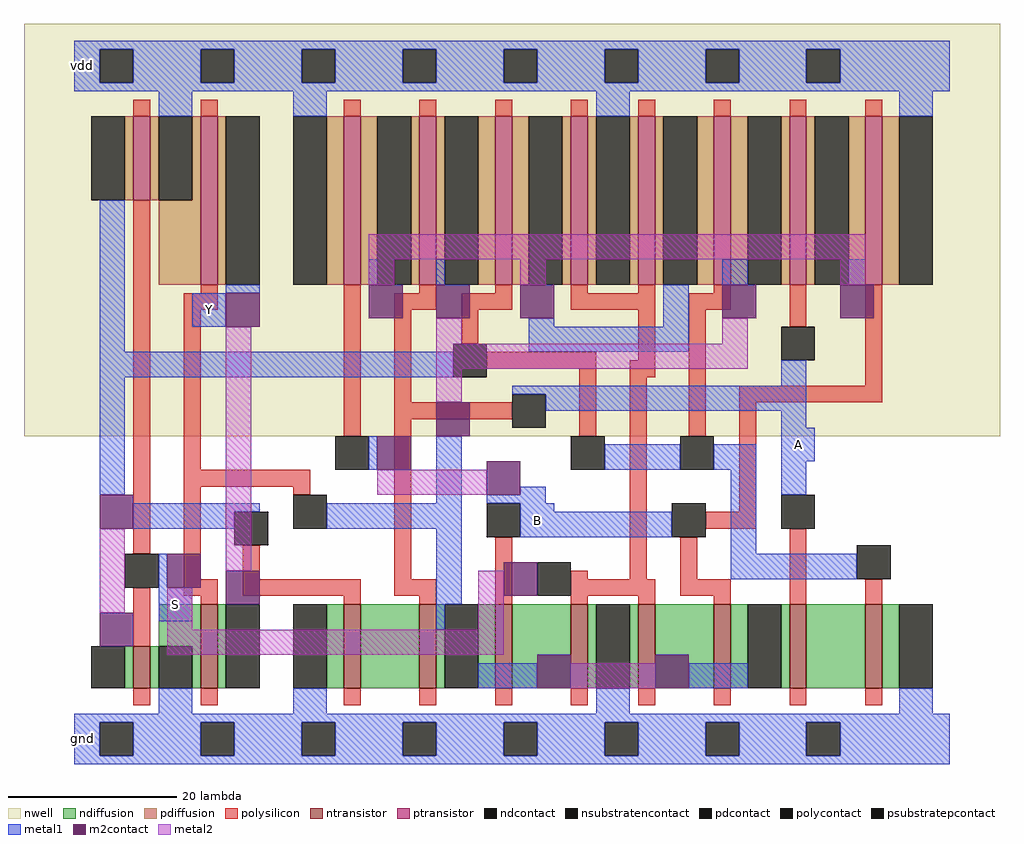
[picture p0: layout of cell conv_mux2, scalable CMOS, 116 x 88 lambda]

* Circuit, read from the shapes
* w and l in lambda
.subckt conv_mux2 A B S Y vdd gnd
M1 gnd S n1 gnd nfet w=5 l=2
M2 Y n2 gnd gnd nfet w=10 l=2
M3 n3 n1 gnd gnd nfet w=10 l=2
M4 n2 A n3 gnd nfet w=10 l=2
M5 n4 B n2 gnd nfet w=10 l=2
M6 gnd S n4 gnd nfet w=10 l=2
M7 n5 S gnd gnd nfet w=10 l=2
M8 n2 B n5 gnd nfet w=10 l=2
M9 n6 A n2 gnd nfet w=10 l=2
M10 gnd n1 n6 gnd nfet w=10 l=2
M11 vdd S n1 vdd pfet w=10 l=2
M12 Y n2 vdd vdd pfet w=20 l=2
M13 n7 B vdd vdd pfet w=20 l=2 m=2
M14 n2 A n7 vdd pfet w=20 l=2 m=2
M15 n7 n1 n2 vdd pfet w=20 l=2 m=2
M16 vdd S n7 vdd pfet w=20 l=2 m=2
.ends

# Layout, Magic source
magic
tech scmos
<< nwell >>
rect -6 36 110 85
<< ndiffusion >>
rect 6 6 7 11
rect 9 6 10 11
rect 14 6 15 11
rect 17 6 18 16
rect 30 6 32 16
rect 34 6 41 16
rect 43 6 44 16
rect 48 6 50 16
rect 52 6 59 16
rect 61 6 62 16
rect 66 6 67 16
rect 69 6 76 16
rect 78 6 80 16
rect 84 6 85 16
rect 87 6 94 16
rect 96 6 98 16
rect 10 11 15 16
<< pdiffusion >>
rect 10 54 15 64
rect 17 54 18 74
rect 30 54 32 74
rect 34 54 36 74
rect 40 54 41 74
rect 43 54 44 74
rect 48 54 50 74
rect 52 54 54 74
rect 58 54 59 74
rect 61 54 62 74
rect 66 54 67 74
rect 69 54 70 74
rect 74 54 76 74
rect 78 54 80 74
rect 84 54 85 74
rect 87 54 88 74
rect 92 54 94 74
rect 96 54 98 74
rect 6 64 7 74
rect 9 64 10 74
rect 14 64 15 74
<< polysilicon >>
rect 7 4 9 6
rect 15 4 17 6
rect 32 4 34 6
rect 41 4 43 6
rect 50 4 52 6
rect 59 4 61 6
rect 67 4 69 6
rect 76 4 78 6
rect 85 4 87 6
rect 94 4 96 6
rect 7 11 9 18
rect 15 16 17 17
rect 32 16 34 17
rect 41 16 43 17
rect 50 16 52 24
rect 59 16 61 17
rect 67 16 69 17
rect 76 16 78 17
rect 85 16 87 25
rect 94 16 96 19
rect 13 17 17 19
rect 20 17 34 19
rect 38 17 43 19
rect 59 17 69 19
rect 72 17 78 19
rect 13 19 15 30
rect 20 19 22 23
rect 38 19 40 38
rect 59 19 61 20
rect 66 19 68 43
rect 72 19 74 24
rect 7 22 9 64
rect 75 25 81 27
rect 79 27 81 40
rect 26 29 28 30
rect 13 30 28 32
rect 13 32 15 51
rect 32 36 34 54
rect 60 36 62 44
rect 73 36 75 51
rect 38 38 52 40
rect 38 40 40 51
rect 79 40 96 42
rect 94 42 96 54
rect 66 43 69 45
rect 49 44 62 46
rect 67 45 69 51
rect 46 47 48 51
rect 85 49 87 54
rect 13 51 17 53
rect 38 51 43 53
rect 46 51 52 53
rect 59 51 69 53
rect 73 51 78 53
rect 15 53 17 54
rect 41 53 43 54
rect 50 53 52 54
rect 59 53 61 54
rect 67 53 69 54
rect 76 53 78 54
rect 7 74 9 76
rect 15 74 17 76
rect 32 74 34 76
rect 41 74 43 76
rect 50 74 52 76
rect 59 74 61 76
rect 67 74 69 76
rect 76 74 78 76
rect 85 74 87 76
rect 94 74 96 76
<< ntransistor >>
rect 7 6 9 11
rect 15 6 17 16
rect 32 6 34 16
rect 41 6 43 16
rect 50 6 52 16
rect 59 6 61 16
rect 67 6 69 16
rect 76 6 78 16
rect 85 6 87 16
rect 94 6 96 16
<< ptransistor >>
rect 15 54 17 74
rect 32 54 34 74
rect 41 54 43 74
rect 50 54 52 74
rect 59 54 61 74
rect 67 54 69 74
rect 76 54 78 74
rect 85 54 87 74
rect 94 54 96 74
rect 7 64 9 74
<< ndcontact >>
rect 2 6 6 11
rect 10 6 14 11
rect 18 6 22 16
rect 26 6 30 16
rect 44 6 48 16
rect 62 6 66 16
rect 80 6 84 16
rect 98 6 102 16
<< pdcontact >>
rect 18 54 22 74
rect 26 54 30 74
rect 36 54 40 74
rect 44 54 48 74
rect 54 54 58 74
rect 62 54 66 74
rect 70 54 74 74
rect 80 54 84 74
rect 88 54 92 74
rect 98 54 102 74
rect 2 64 6 74
rect 10 64 14 74
<< polycontact >>
rect 55 17 59 21
rect 6 18 10 22
rect 93 19 97 23
rect 19 23 23 27
rect 49 24 53 28
rect 71 24 75 28
rect 26 25 30 29
rect 84 25 88 29
rect 31 32 35 36
rect 59 32 63 36
rect 72 32 76 36
rect 52 37 56 41
rect 45 43 49 47
rect 84 45 88 49
<< psubstratepcontact >>
rect 3 -2 7 2
rect 15 -2 19 2
rect 27 -2 31 2
rect 39 -2 43 2
rect 51 -2 55 2
rect 63 -2 67 2
rect 75 -2 79 2
rect 87 -2 91 2
<< nsubstratencontact >>
rect 3 78 7 82
rect 15 78 19 82
rect 27 78 31 82
rect 39 78 43 82
rect 51 78 55 82
rect 63 78 67 82
rect 75 78 79 82
rect 87 78 91 82
<< metal1 >>
rect 0 -3 104 -2
rect 0 -2 3 2
rect 7 -2 15 2
rect 19 -2 27 2
rect 31 -2 39 2
rect 43 -2 51 2
rect 55 -2 63 2
rect 67 -2 75 2
rect 79 -2 87 2
rect 91 -2 104 2
rect 0 2 104 3
rect 10 3 14 6
rect 26 3 30 6
rect 62 3 66 6
rect 98 3 102 6
rect 48 6 55 9
rect 73 6 80 9
rect 43 13 44 16
rect 10 14 14 18
rect 43 16 46 25
rect 10 18 11 22
rect 78 19 93 22
rect 78 22 81 32
rect 53 24 71 27
rect 7 25 19 27
rect 30 25 46 28
rect 7 27 22 28
rect 53 27 57 28
rect 43 28 46 36
rect 49 28 56 29
rect 3 29 6 43
rect 53 29 56 30
rect 84 29 87 33
rect 35 32 36 36
rect 63 32 72 35
rect 76 32 81 35
rect 84 33 88 37
rect 84 37 87 39
rect 56 39 87 41
rect 52 41 87 42
rect 84 42 87 45
rect 3 43 45 46
rect 3 46 6 64
rect 54 46 73 49
rect 14 49 18 53
rect 54 49 57 50
rect 70 49 73 54
rect 18 53 22 54
rect 35 54 36 57
rect 43 54 44 57
rect 77 54 80 57
rect 92 54 94 57
rect 10 74 14 77
rect 26 74 30 77
rect 62 74 66 77
rect 98 74 102 77
rect 0 77 104 78
rect 0 78 3 82
rect 7 78 15 82
rect 19 78 27 82
rect 31 78 39 82
rect 43 78 51 82
rect 55 78 63 82
rect 67 78 75 82
rect 79 78 87 82
rect 91 78 104 82
rect 0 82 104 83
<< m2contact >>
rect 55 6 59 10
rect 69 6 73 10
rect 3 11 7 15
rect 18 16 22 20
rect 51 17 55 21
rect 11 18 15 22
rect 3 25 7 29
rect 49 29 53 33
rect 36 32 40 36
rect 43 36 47 40
rect 18 49 22 53
rect 35 50 39 54
rect 43 50 47 54
rect 53 50 57 54
rect 77 50 81 54
rect 91 50 95 54
<< metal2 >>
rect 59 6 69 9
rect 11 10 51 13
rect 11 13 14 18
rect 48 13 51 20
rect 3 15 6 25
rect 18 20 21 49
rect 36 29 49 32
rect 43 40 46 44
rect 43 44 80 47
rect 43 47 46 50
rect 77 47 80 50
rect 35 54 38 57
rect 53 54 56 57
rect 91 54 94 57
rect 35 57 94 60
<< labels >>
rlabel metal1 s 84 33 88 37 0 A
port 1 nsew signal input
rlabel metal1 s 53 24 57 28 0 B
port 2 nsew signal input
rlabel metal1 s 10 14 14 18 0 S
port 3 nsew signal input
rlabel metal1 s 14 49 18 53 0 Y
port 4 nsew signal output
rlabel metal1 s 0 77 2 83 0 vdd
port 5 nsew power bidirectional
rlabel metal1 s 0 -3 2 3 0 gnd
port 6 nsew ground bidirectional
<< properties >>
string FIXED_BBOX 0 0 104 80
<< end >>
